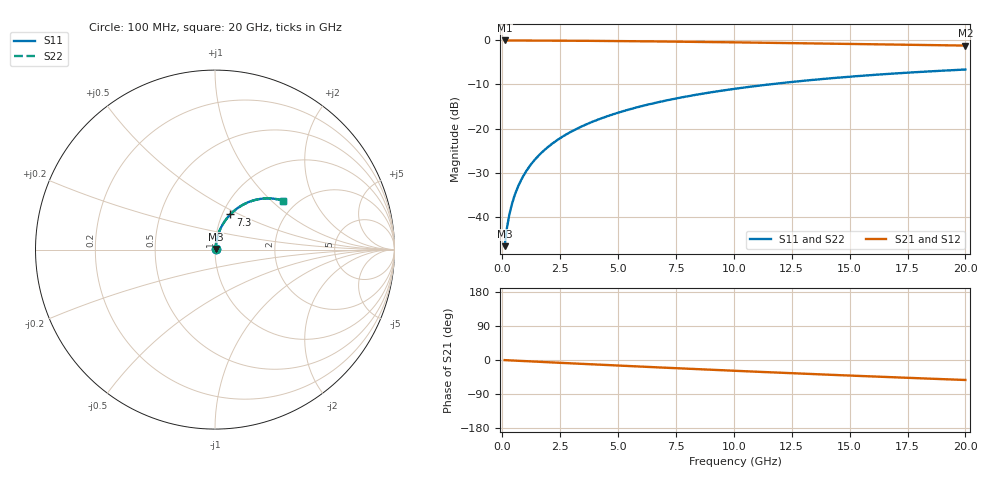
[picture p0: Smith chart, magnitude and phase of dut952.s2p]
! Touchstone file exported from HFSS 2026.1.0
!  File:  C:/ffzhzh/LocalFiles/Ansys_Project_Files/temp_train_BSMRDL_952_1783172272_22436.aedt
!  Generated:  09:39:15 PM Jul  4, 2026
!  Design:  BSMRDL
!  Project:  temp_train_BSMRDL_952_1783172272_22436
! Variables:
!  h_bsmrdl = 4.73um
!  h_ox = 20um
!  h_rdl = 5um
!  h_sub = 80um
!  h_tmrdl = 5um
!  h_tsv = 80um
!  h_via = 3um
!  l_bsmrdl = 802.48um
!  l_sub = 1202.48um
!  l_tmrdl = 200um
!  m_sub = 200um
!  pitch = 49.44um
!  r_tsv = 6um
!  s_tmrdl = 10um
!  w_bsmrdl = 19.84um
!  w_sub = 500um
!  w_tmrdl = 12um
!  x_tsv_center1 = 206um
!  x_tsv_center2 = 1028.32um
!  x_tsv_center3 = 1240.32um
!  x_tsv_center4 = 2062.64um
!  x_tsv_center5 = 2274.64um
!  x_tsv_center6 = 3096.96um
# GHz S MA R 50.000000
! Terminal data exported
! Port[1] = BSM_RDL1_1_T1
! Port[2] = BSM_RDL1_1_T2
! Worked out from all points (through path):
!   200 points, 100 MHz to 20 GHz, reference 50 ohm
!   highest |S21| = -0.03 dB at 100 MHz (marker M1); lowest = -1.2 dB at 20 GHz (marker M2)
!   group delay of S21, straight-line fit = 7.33 ps
!   lowest |S11| = -46.7 dB at 100 MHz (marker M3), VSWR 1.01, Z = 50.3 + j0.338 ohm
!   |S11| at or under -10 dB: start of sweep to 11.53 GHz
!   |S22| runs from -46.7 to -6.6 dB; largest |S21 - S12| = 4.6e-15
!   S11 on the Smith chart (normalised r, x): 100 MHz: 1.01, +0.01; 7.3 GHz: 1.09, +0.45; 20 GHz: 1.70, +1.18
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0.1  0.00463 46.5  0.9968 -0.3  0.9968 -0.3  0.00463 46.5
! Gamma 0 0 0 0
! Port Impedance 50 0 50 0
0.2  0.007428 62.7  0.9966 -0.6  0.9966 -0.6  0.007428 62.7
0.3  0.0104 69.4  0.9965 -0.9  0.9965 -0.9  0.0104 69.4
0.4  0.01341 73.1  0.9963 -1.2  0.9963 -1.2  0.01341 73.1
0.5  0.01644 75.5  0.9962 -1.5  0.9962 -1.5  0.01644 75.5
0.6  0.01949 77.0  0.996 -1.8  0.996 -1.8  0.01949 77.0
0.8  0.02562 78.9  0.9958 -2.4  0.9958 -2.4  0.02562 78.8
1.1  0.03487 80.0  0.9953 -3.3  0.9953 -3.3  0.03487 80.0
1.5  0.04721 80.3  0.9946 -4.5  0.9946 -4.5  0.04721 80.3
1.8  0.05644 80.0  0.9939 -5.4  0.9939 -5.4  0.05644 80.0
2.1  0.06562 79.6  0.9931 -6.3  0.9931 -6.3  0.06562 79.6
2.7  0.08383 78.4  0.9912 -8.0  0.9912 -8.0  0.08383 78.4
3.5  0.1077 76.5  0.9882 -10.3  0.9882 -10.3  0.1077 76.5
4.2  0.1282 74.7  0.9851 -12.4  0.9851 -12.4  0.1282 74.6
5  0.151 72.6  0.9812 -14.6  0.9812 -14.6  0.151 72.5
6.8  0.2005 67.8  0.9709 -19.7  0.9709 -19.7  0.2005 67.8
7.3  0.2137 66.5  0.9678 -21.1  0.9678 -21.1  0.2137 66.5
8.6  0.2471 63.1  0.9591 -24.6  0.9591 -24.6  0.2471 63.1
10.1  0.2835 59.3  0.9484 -28.6  0.9484 -28.6  0.2835 59.2
13.4  0.3558 51.1  0.923 -37.1  0.923 -37.1  0.3558 51.0
16.7  0.4167 43.3  0.8969 -45.2  0.8969 -45.2  0.4168 43.2
20  0.4666 35.8  0.8721 -52.7  0.8721 -52.7  0.4667 35.8
